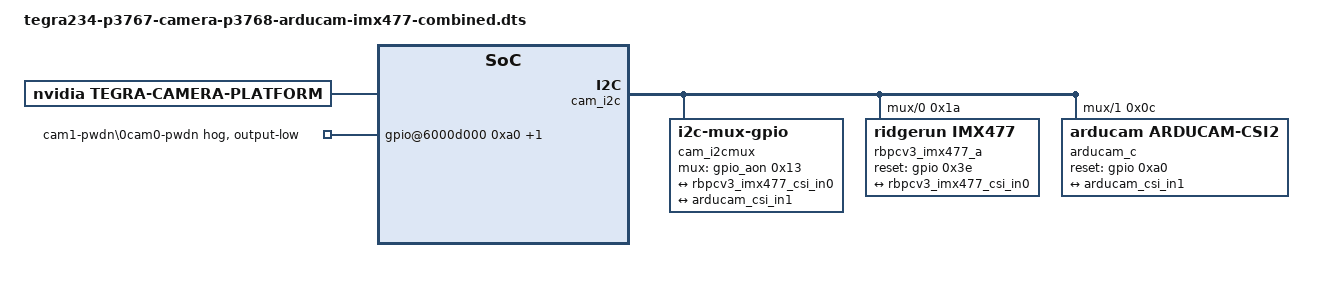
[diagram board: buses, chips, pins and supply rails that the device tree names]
// SPDX-License-Identifier: GPL-2.0-only
// Combined camera overlay: IMX477 (2-lane, CAM0/port B) + AR0234 stereo (4-lane, CAM1/port C)
// For Jetson Orin Nano / Orin Nano Super (p3768 carrier + p3767-0003/0004/0005),
// L4T R36.x (JetPack 6.2) and R39.2 (JetPack 7.2) with Arducam's arducam_4lane
// driver package. Verified on both: IMX477 1080p30, AR0234 3840x1200@30.
//
// IMX477 on i2c@0 / CSI port B (serial_b, port-index 1) - 2 lanes, NVIDIA nv_imx477 driver
// AR0234 on i2c@1 / CSI port C (serial_c, port-index 2) - 4 lanes, Arducam arducam_csi2 driver
//
// Only CAM1 (J21) is wired for 4 lanes on the p3768 carrier, so the stereo board
// must sit on CAM1. The IMX477 node and modes match NVIDIA's
// tegra234-p3767-camera-p3768-imx477-A.dtbo; the AR0234 node is the one from
// tegra234-p3767-camera-p3768-arducam-imx219-combined.dts. i2c@1 carries
// reg = <1> so the two mux channels stay separate.

/dts-v1/;
/plugin/;

/ {
	overlay-name = "Camera AR0234 + IMX477 Combined";
	jetson-header-name = "Jetson 24pin CSI Connector";
	compatible = "nvidia,p3768-0000+p3767-0000", "nvidia,p3768-0000+p3767-0001",
		     "nvidia,p3768-0000+p3767-0003", "nvidia,p3768-0000+p3767-0004",
		     "nvidia,p3768-0000+p3767-0005",
		     "nvidia,p3768-0000+p3767-0000-super", "nvidia,p3768-0000+p3767-0001-super",
		     "nvidia,p3768-0000+p3767-0003-super", "nvidia,p3768-0000+p3767-0004-super",
		     "nvidia,p3768-0000+p3767-0005-super";

	fragment@0 {
		target-path = "/";

		__overlay__ {

			tegra-capture-vi {
				num-channels = <2>;

				ports {
					#address-cells = <1>;
					#size-cells = <0>;

					/* IMX477 on CSI port B (2-lane) */
					port@0 {
						reg = <0>;

						rbpcv3_imx477_vi_in0: endpoint {
							port-index = <1>;
							bus-width = <2>;
							remote-endpoint = <&rbpcv3_imx477_csi_out0>;
						};
					};

					/* AR0234 on CSI port C (4-lane) */
					port@1 {
						reg = <1>;

						arducam_vi_in1: endpoint {
							port-index = <2>;
							bus-width = <4>;
							remote-endpoint = <&arducam_csi_out1>;
						};
					};
				};
			};

			tegra-camera-platform {
				compatible = "nvidia, tegra-camera-platform";
				num_csi_lanes = <6>;
				max_lane_speed = <1500000>;
				min_bits_per_pixel = <10>;
				vi_peak_byte_per_pixel = <2>;
				vi_bw_margin_pct = <25>;
				max_pixel_rate = <7500000>;
				isp_peak_byte_per_pixel = <5>;
				isp_bw_margin_pct = <25>;

				modules {

					module0 {
						badge = "jakku_front_RBPCV3";
						position = "front";
						orientation = "1";

						drivernode0 {
							pcl_id = "v4l2_sensor";
							sysfs-device-tree = "/sys/firmware/devicetree/base/bus@0/cam_i2cmux/i2c@0/rbpcv3_imx477_a@1a";
						};
					};

					module1 {
						badge = "jakku_rear_arducam";
						position = "rear";
						orientation = "1";

						drivernode0 {
							pcl_id = "v4l2_sensor";
							sysfs-device-tree = "/sys/firmware/devicetree/base/bus@0/cam_i2cmux/i2c@1/arducam_c@0c";
						};
					};
				};
			};

			bus@0 {

				host1x@13e00000 {

					nvcsi@15a00000 {
						num-channels = <2>;
						#address-cells = <1>;
						#size-cells = <0>;

						/* Channel 0: IMX477 on CSI port B, 2-lane */
						channel@0 {
							reg = <0>;

							ports {
								#address-cells = <1>;
								#size-cells = <0>;

								port@0 {
									reg = <0>;

									rbpcv3_imx477_csi_in0: endpoint@0 {
										port-index = <1>;
										bus-width = <2>;
										remote-endpoint = <&rbpcv3_imx477_out0>;
									};
								};

								port@1 {
									reg = <1>;

									rbpcv3_imx477_csi_out0: endpoint@1 {
										remote-endpoint = <&rbpcv3_imx477_vi_in0>;
									};
								};
							};
						};

						/* Channel 1: AR0234 on CSI port C, 4-lane */
						channel@1 {
							reg = <1>;

							ports {
								#address-cells = <1>;
								#size-cells = <0>;

								port@0 {
									reg = <0>;

									arducam_csi_in1: endpoint@2 {
										port-index = <2>;
										bus-width = <4>;
										remote-endpoint = <&arducam_out1>;
									};
								};

								port@1 {
									reg = <1>;

									arducam_csi_out1: endpoint@3 {
										remote-endpoint = <&arducam_vi_in1>;
									};
								};
							};
						};
					};
				};

				cam_i2cmux {
					status = "okay";
					compatible = "i2c-mux-gpio";
					#address-cells = <1>;
					#size-cells = <0>;
					mux-gpios = <&gpio_aon 0x13 0x00>;
					i2c-parent = <&cam_i2c>;

					i2c@0 {
						status = "okay";
						reg = <0>;
						#address-cells = <1>;
						#size-cells = <0>;

						rbpcv2_imx219_a@10 {
							status = "disabled";
						};

						rbpcv3_imx477_a@1a {
							reset-gpios = <&gpio 0x3e 0x00>;
							compatible = "ridgerun,imx477";
							reg = <0x1a>;
							devnode = "video0";
							physical_w = "3.680";
							physical_h = "2.760";
							sensor_model = "imx477";
							use_sensor_mode_id = "true";

							mode0 {
								mclk_khz = "24000";
								num_lanes = "2";
								tegra_sinterface = "serial_b";
								phy_mode = "DPHY";
								discontinuous_clk = "no";
								dpcm_enable = "false";
								cil_settletime = "0";
								lane_polarity = "6";
								active_w = "3840";
								active_h = "2160";
								mode_type = "bayer";
								pixel_phase = "rggb";
								csi_pixel_bit_depth = "10";
								readout_orientation = "90";
								line_length = "11200";
								inherent_gain = "1";
								mclk_multiplier = "80";
								pix_clk_hz = "300000000";
								gain_factor = "16";
								framerate_factor = "1000000";
								exposure_factor = "1000000";
								min_gain_val = "16";
								max_gain_val = "356";
								step_gain_val = "1";
								default_gain = "16";
								min_hdr_ratio = "1";
								max_hdr_ratio = "1";
								min_framerate = "2000000";
								max_framerate = "30000000";
								step_framerate = "1";
								default_framerate = "30000000";
								min_exp_time = "13";
								max_exp_time = "683709";
								step_exp_time = "1";
								default_exp_time = "2495";
								embedded_metadata_height = "2";
							};

							mode1 {
								mclk_khz = "24000";
								num_lanes = "2";
								tegra_sinterface = "serial_b";
								phy_mode = "DPHY";
								discontinuous_clk = "no";
								dpcm_enable = "false";
								cil_settletime = "0";
								lane_polarity = "6";
								active_w = "1920";
								active_h = "1080";
								mode_type = "bayer";
								pixel_phase = "rggb";
								csi_pixel_bit_depth = "10";
								readout_orientation = "90";
								line_length = "7000";
								inherent_gain = "1";
								mclk_multiplier = "80";
								pix_clk_hz = "300000000";
								gain_factor = "16";
								framerate_factor = "1000000";
								exposure_factor = "1000000";
								min_gain_val = "16";
								max_gain_val = "356";
								step_gain_val = "1";
								default_gain = "16";
								min_hdr_ratio = "1";
								max_hdr_ratio = "1";
								min_framerate = "2000000";
								max_framerate = "60000000";
								step_framerate = "1";
								default_framerate = "60000000";
								min_exp_time = "13";
								max_exp_time = "683709";
								step_exp_time = "1";
								default_exp_time = "2495";
								embedded_metadata_height = "2";
							};

							ports {
								#address-cells = <1>;
								#size-cells = <0>;

								port@0 {
									reg = <0>;

									rbpcv3_imx477_out0: endpoint {
										status = "okay";
										port-index = <1>;
										bus-width = <2>;
										remote-endpoint = <&rbpcv3_imx477_csi_in0>;
									};
								};
							};
						};
					};

					i2c@1 {
						status = "okay";
						reg = <1>;
						#address-cells = <1>;
						#size-cells = <0>;

						rbpcv2_imx219_c@10 {
							status = "disabled";
						};

						arducam_c@0c {
							reset-gpios = <&gpio 0xa0 0x00>;
							compatible = "arducam,arducam-csi2";
							reg = <0x0c>;
							devnode = "video1";
							physical_w = "5.760";
							physical_h = "3.600";
							sensor_model = "arducam-csi2";
							use_sensor_mode_id = "true";

							mode0 {
								mclk_khz = "24000";
								num_lanes = "4";
								tegra_sinterface = "serial_c";
								phy_mode = "DPHY";
								discontinuous_clk = "yes";
								dpcm_enable = "false";
								cil_settletime = "0";
								lane_polarity = "0";
								active_w = "3840";
								active_h = "1200";
								mode_type = "bayer";
								pixel_phase = "grbg";
								csi_pixel_bit_depth = "10";
								readout_orientation = "0";
								line_length = "4400";
								inherent_gain = "1";
								mclk_multiplier = "6.67";
								/* NVCSI derives the D-PHY lane rate, and from it the HS settle
								 * (sync) window, from pix_clk_hz. 154 MHz (385 Mbps/lane) is the
								 * value this board streamed with on L4T R36 in VisionSense; keep
								 * it matched to the board so the receiver locks onto its bursts. */
								pix_clk_hz = "154000000";
								gain_factor = "16";
								framerate_factor = "1000000";
								exposure_factor = "1000000";
								min_gain_val = "16";
								max_gain_val = "170";
								step_gain_val = "1";
								default_gain = "16";
								min_hdr_ratio = "1";
								max_hdr_ratio = "1";
								min_framerate = "2000000";
								max_framerate = "30000000";
								step_framerate = "1";
								default_framerate = "30000000";
								min_exp_time = "13";
								max_exp_time = "683709";
								step_exp_time = "1";
								default_exp_time = "2495";
								embedded_metadata_height = "0";
							};

							ports {
								#address-cells = <1>;
								#size-cells = <0>;

								port@0 {
									reg = <0>;

									arducam_out1: endpoint {
										status = "okay";
										port-index = <2>;
										bus-width = <4>;
										remote-endpoint = <&arducam_csi_in1>;
									};
								};
							};
						};
					};
				};

				gpio@6000d000 {

					camera-control-output-low {
						gpio-hog;
						output-low;
						gpios = <0xa0 0x00 0x3e 0x00>;
						label = "cam1-pwdn\0cam0-pwdn";
					};
				};
			};
		};
	};
};
